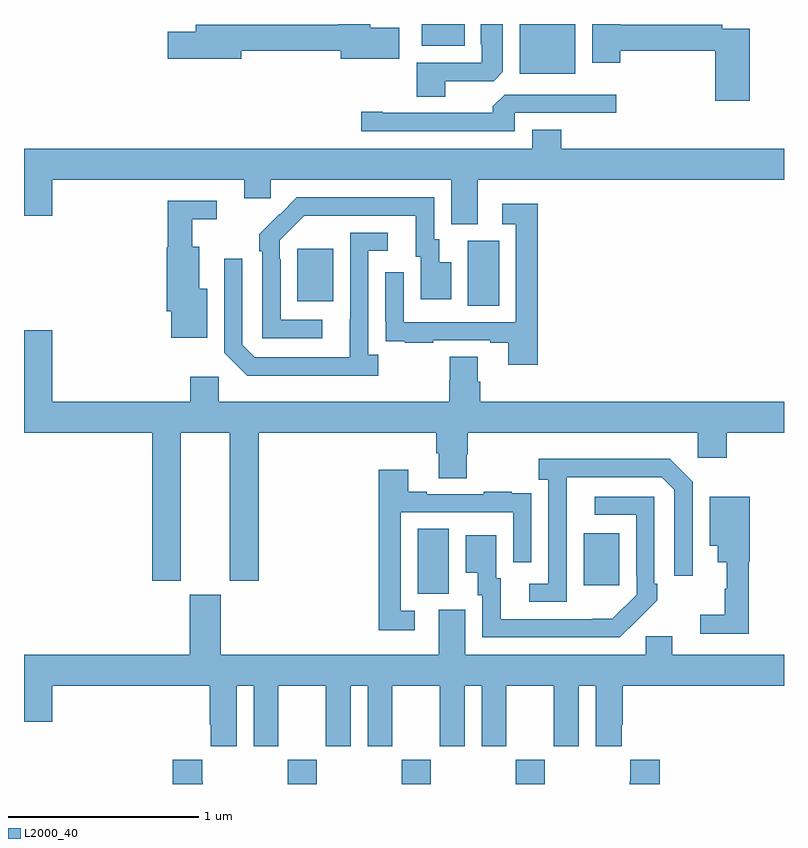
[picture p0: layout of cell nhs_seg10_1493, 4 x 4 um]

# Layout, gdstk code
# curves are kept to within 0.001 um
import gdstk
lib = gdstk.Library(unit=1e-6, precision=1e-09)
def R(c, l, rs):  # rectangles x0, y0, x1, y1
    for r in rs: c.add(gdstk.rectangle(r[:2], r[2:], *l))
def A(c, l, x, y, w, h, nx, ny, dx, dy):  # array of equal rectangles
    R(c, l, [(x+i*dx, y+j*dy, x+i*dx+w, y+j*dy+h) for i in range(nx) for j in range(ny)])
def P(c, l, *ps):  # polygons
    for p in ps: c.add(gdstk.Polygon(p, *l))
L2000_40 = (2000, 40)

nhs_seg10_1493 = lib.new_cell('nhs_seg10_1493')
A(nhs_seg10_1493, L2000_40, 190.387, 1266.5, 0.155, 0.128, 3, 1, 0.6, 0)
R(nhs_seg10_1493, L2000_40, [(191.072,1267.501,191.236,1267.844), (191.945,1267.545,192.133,1267.819), (191.336,1269.016,191.5,1269.36), (190.439,1269.041,190.627,1269.316), (191.609,1270.238,191.902,1270.5), (191.093,1270.385,191.32,1270.5)])
P(nhs_seg10_1493, L2000_40, [(192.821,1270.476),(192.674,1270.476),(192.674,1270.496),(192.137,1270.496),(192.137,1270.5),(191.99,1270.5),(191.99,1270.296),(192.137,1270.296),(192.137,1270.36),(192.638,1270.36),(192.638,1270.095),(192.821,1270.095)],
  [(190.975,1270.479),(190.822,1270.479),(190.822,1270.5),(190.655,1270.5),(190.655,1270.496),(189.905,1270.496),(189.905,1270.46),(189.756,1270.46),(189.756,1270.318),(190.144,1270.318),(190.144,1270.36),(190.667,1270.36),(190.667,1270.316),(190.975,1270.316)],
  [(191.218,1270.2),(191.472,1270.2),(191.521,1270.249),(191.521,1270.5),(191.405,1270.5),(191.405,1270.393),(191.409,1270.393),(191.409,1270.296),(191.066,1270.296),(191.066,1270.117),(191.218,1270.117)],
  [(191.583,1270.032),(192.118,1270.032),(192.118,1270.128),(191.529,1270.128),(191.468,1270.066),(191.468,1270.032),(190.888,1270.032),(190.888,1270.037),(190.776,1270.037),(190.776,1269.936),(191.583,1269.936)],
  [(191.389,1269.68),(193,1269.68),(193,1269.844),(191.828,1269.844),(191.828,1269.943),(191.675,1269.943),(191.675,1269.844),(189,1269.844),(189,1269.492),(189.148,1269.492),(189.148,1269.68),(190.16,1269.68),(190.16,1269.582),(190.299,1269.582),(190.299,1269.68),(191.249,1269.68),(191.249,1269.445),(191.389,1269.445)],
  [(190.57,1268.943),(190.35,1268.943),(190.35,1269.263),(190.347,1269.263),(190.347,1269.363),(190.476,1269.492),(191.063,1269.492),(191.063,1269.276),(191.087,1269.276),(191.087,1269.051),(191.248,1269.051),(191.248,1269.247),(191.185,1269.247),(191.185,1269.366),(191.16,1269.366),(191.16,1269.588),(190.436,1269.588),(190.239,1269.393),(190.239,1269.305),(190.254,1269.305),(190.254,1268.847),(190.57,1268.847)],
  [(189.964,1269.106),(189.922,1269.106),(189.922,1269.328),(189.886,1269.328),(189.886,1269.473),(190.015,1269.473),(190.015,1269.57),(189.757,1269.57),(189.757,1269.324),(189.752,1269.324),(189.752,1268.988),(189.776,1268.988),(189.776,1268.849),(189.964,1268.849)],
  [(191.705,1269.553),(191.517,1269.553),(191.517,1269.447),(191.589,1269.447),(191.589,1268.931),(190.998,1268.931),(190.998,1269.193),(190.902,1269.193),(190.902,1268.938),(190.903,1268.938),(190.903,1268.829),(191.005,1268.829),(191.005,1268.823),(191.153,1268.823),(191.153,1268.835),(191.453,1268.835),(191.453,1268.823),(191.549,1268.823),(191.549,1268.706),(191.705,1268.706)],
  [(190.864,1268.758),(190.812,1268.758),(190.812,1269.306),(190.915,1269.306),(190.915,1269.402),(190.716,1269.402),(190.715,1268.745),(190.215,1268.745),(190.149,1268.811),(190.149,1269.265),(190.053,1269.265),(190.053,1268.769),(190.174,1268.648),(190.864,1268.648)],
  [(189,1268.887),(189,1268.348),(189.674,1268.348),(189.674,1267.569),(189.826,1267.569),(189.826,1268.348),(190.082,1268.348),(190.082,1267.569),(190.235,1267.569),(190.235,1268.348),(191.171,1268.348),(191.171,1268.242),(191.183,1268.242),(191.183,1268.11),(191.331,1268.11),(191.331,1268.235),(191.336,1268.235),(191.336,1268.348),(192.546,1268.348),(192.546,1268.217),(192.698,1268.217),(192.698,1268.348),(193,1268.348),(193,1268.512),(191.402,1268.512),(191.402,1268.618),(191.389,1268.618),(191.389,1268.75),(191.242,1268.75),(191.242,1268.625),(191.237,1268.625),(191.237,1268.512),(190.026,1268.512),(190.026,1268.644),(189.875,1268.644),(189.875,1268.512),(189.148,1268.512),(189.148,1268.887)],
  [(191.856,1267.915),(191.857,1268.115),(192.357,1268.115),(192.423,1268.049),(192.423,1267.596),(192.519,1267.596),(192.519,1268.091),(192.398,1268.212),(191.709,1268.212),(191.709,1268.102),(191.76,1268.102),(191.76,1267.554),(191.658,1267.554),(191.658,1267.458),(191.856,1267.458)],
  [(191.056,1267.413),(190.983,1267.413),(190.983,1267.929),(191.574,1267.929),(191.574,1267.668),(191.67,1267.668),(191.67,1267.922),(191.669,1267.922),(191.669,1268.031),(191.567,1268.031),(191.567,1268.038),(191.419,1268.038),(191.419,1268.025),(191.119,1268.025),(191.119,1268.038),(191.023,1268.038),(191.023,1268.155),(190.867,1268.155),(190.867,1267.308),(191.056,1267.308)],
  [(192.227,1267.363),(192.228,1267.362),(192.333,1267.467),(192.333,1267.555),(192.318,1267.555),(192.318,1268.013),(192.003,1268.013),(192.003,1267.917),(192.222,1267.917),(192.222,1267.597),(192.225,1267.597),(192.225,1267.497),(192.097,1267.369),(191.509,1267.368),(191.509,1267.584),(191.485,1267.584),(191.485,1267.81),(191.324,1267.81),(191.324,1267.613),(191.387,1267.613),(191.387,1267.494),(191.412,1267.494),(191.412,1267.272),(192.136,1267.272)],
  [(192.815,1267.671),(192.821,1267.671),(192.821,1268.011),(192.608,1268.011),(192.608,1267.754),(192.65,1267.754),(192.65,1267.667),(192.698,1267.667),(192.698,1267.527),(192.687,1267.527),(192.687,1267.391),(192.558,1267.391),(192.558,1267.29),(192.815,1267.29)],
  [(190.12,1267.016),(190.208,1267.016),(190.208,1266.699),(190.339,1266.699),(190.339,1267.016),(190.589,1267.016),(190.589,1266.699),(190.72,1266.699),(190.72,1267.016),(190.808,1267.016),(190.808,1266.699),(190.939,1266.699),(190.939,1267.016),(191.189,1267.016),(191.189,1266.699),(191.32,1266.699),(191.32,1267.016),(191.408,1267.016),(191.408,1266.699),(191.539,1266.699),(191.539,1267.016),(191.789,1267.016),(191.789,1266.699),(191.92,1266.699),(191.92,1267.016),(192.008,1267.016),(192.008,1266.699),(192.145,1266.699),(192.145,1266.811),(192.152,1266.811),(192.152,1267.016),(193,1267.016),(193,1267.18),(192.412,1267.18),(192.412,1267.278),(192.273,1267.278),(192.273,1267.18),(191.323,1267.18),(191.323,1267.416),(191.183,1267.416),(191.183,1267.18),(190.036,1267.18),(190.036,1267.497),(189.872,1267.497),(189.872,1267.18),(189,1267.18),(189,1266.828),(189.148,1266.828),(189.148,1267.016),(189.977,1267.016),(189.977,1266.811),(189.983,1266.811),(189.983,1266.699),(190.12,1266.699)],
  [(192.347,1266.628),(192.191,1266.628),(192.191,1266.515),(192.187,1266.515),(192.187,1266.5),(192.347,1266.5)],
  [(189.942,1266.515),(189.937,1266.515),(189.937,1266.628),(189.782,1266.628),(189.782,1266.5),(189.942,1266.5)])

lib.write_gds('nhs_seg10_1493.gds')
